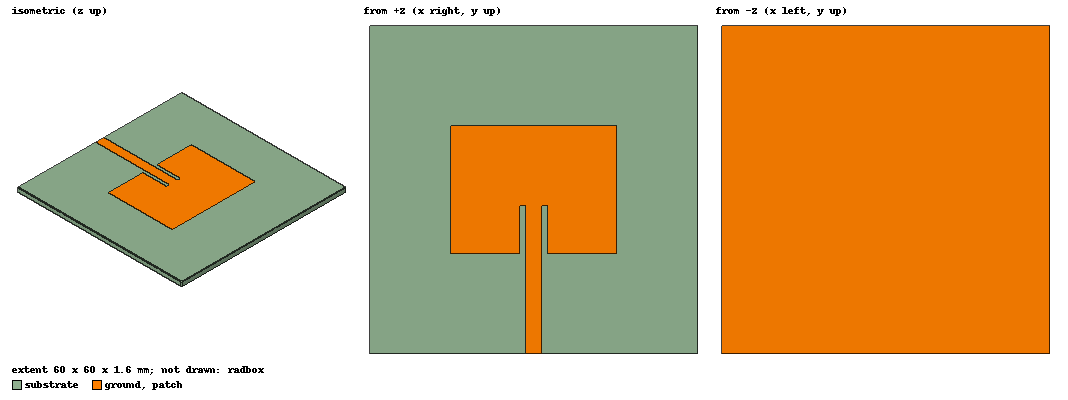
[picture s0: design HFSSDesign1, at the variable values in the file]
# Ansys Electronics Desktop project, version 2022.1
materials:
  vacuum: permittivity=1
  FR4_epoxy: permittivity=4.4 dielectric_loss_tangent=0.02

design HFSSDesign1 (HFSS, DrivenModal, model units mm)
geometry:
  ground = rectangle(corner=((-60/2) mm, (-60/2) mm, 0mm), x_size=60mm, y_size=60mm)
  substrate [FR4_epoxy] = box(corner=(-30mm, -30mm, 0mm), size=(60mm, 60mm, 1.6mm))
  patch = rectangle(corner=((-30.42/2) mm, (-23.42/2) mm, 1.6mm), x_size=30.41mm, y_size=23.42mm)
  cut = rectangle(corner=((-5.06/2) mm, (-23.42/2) mm, 1.6mm), x_size=5.06mm, y_size=8.73mm)
  patch.subtract(cut)
  feedline = rectangle(corner=((-3/2) mm, -30mm, 1.6mm), x_size=3mm, y_size=30mm)
  patch.unite(feedline)
  port = rectangle(corner=(-1.5mm, -30mm, 1.6mm), z_size=-1.6mm, x_size=3mm)
  radbox [vacuum] = box(corner=(-50mm, -50mm, -25mm), size=(100mm, 100mm, 50mm))
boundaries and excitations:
  PerfE1: Perfect E Objects=[patch, ground]
  Rad1: Radiation Objects=radbox
  1: Lumped Port Objects=port Modes{Mode1{IntLine{(0, -30, 0) -> (0, -30, 1.6)} CharImp=Zpi RenormImp=50ohm}} Impedance=50ohm
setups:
  Setup1: HfssDriven Frequency=3GHz MaxDeltaS=0.02 MaximumPasses=20 MinimumPasses=1 MinimumConvergedPasses=1 PercentRefinement=30 BasisOrder=1 PortAccuracy=2 DrivenSolverType="Direct Solver"
    sweep Sweep: 1GHz to 4GHz step 0.01GHz; Type=Fast SaveFields
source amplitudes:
  1:1: 1W 0deg
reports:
  S Parameter Plot 1: dB(S(1,1)) vs Freq on Setup1 : Sweep
